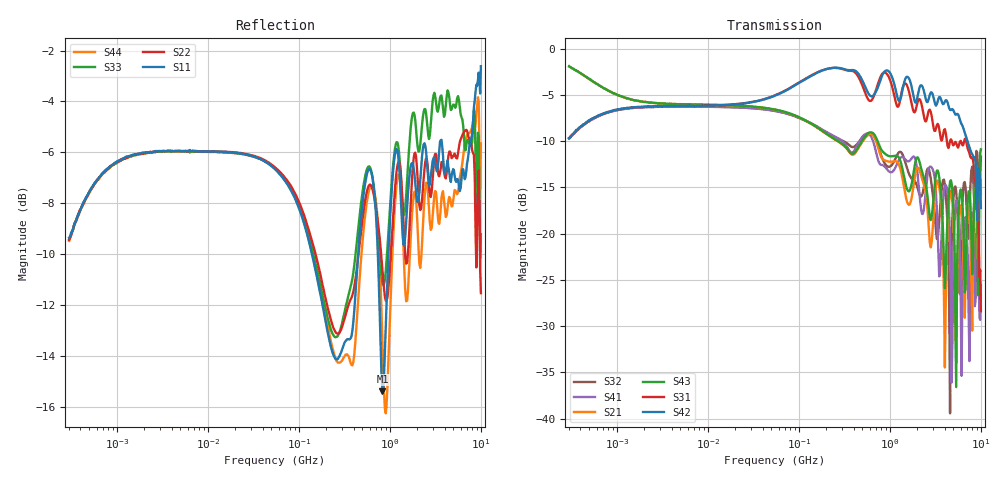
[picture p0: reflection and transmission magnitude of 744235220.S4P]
! This data is being provided by Wuerth Elektronik eiSos GmbH & Co. KG to the industry for analysis.
! Document information:
! Version:rev19a Date: 16/12/2019
! Component information:
! Match Code: WE-CNSW P/N: 744235220 Size: 1812
! Disclaimer:  While Würth Elektronik eiSos has made every reasonable effort to ensure the accuracy
! of the information provided, Würth Elektronik eiSos does not guarantee the exemption of error on the
! data collection measurements, nor does Würth Elektronik eiSos guarantee that the information is current.
! Würth Elektronik eiSos reserves the right to make any adjustments at any time without notice.
! Würth Elektronik eiSos expressly disclaims all implied warranties regarding this measurement data collection.
! Note 1  This data measurement is representative according to the product implementation into the fixture.
! Component behavior is sensitive to implementation into the fixture, which includes board
! materials, trace geometry information, connector pin out, layer connection, use of de-embedding
! techniques, etc.
! Note 2 - The fixture was designed specifically to match the 50 Ohm line impedance, as well as the connector impedance,
! in order to accomplish a reliable measurement without reflections in the trace. Any other implementation of the fixture will change the obtained
! measurement performance. The used fixture behavior was de-embedded to accomplish reliable measurement results.
! The test setup consisted of the following:
!  - Agilent VNA E5071C or E5071B
!  - Calibrations are SOLT (short open load thru)
!  - De-embedding of the SMA's or line cards were included
!  - Equipment Settings -
!  - Sampling - 501 points
!  - IF BW  70 kHz
!  - Averaging  Not used
!  Port 1----->|1|  |2| -----> Port 3
!  |  DUT  |
!  Port 2----->|3|  |4| -----> Port 4
!*VNA Port --> |Port in Datasheet|
! |Port in Datasheet| --> VNA Port
! For further information regarding this testing, please contact
! Wuerth Elektronik eiSos
! Contact: EDA team in QDC
! Email: libraries@we-online.com or libraries@we-online.de
# Hz S dB R 50
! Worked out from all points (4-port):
!   501 points, 300 kHz to 10 GHz, reference 50 ohm
!   strongest paths, dB at 300 kHz, 4.054 MHz, 54.77 MHz, 740.1 MHz, 10 GHz:
!     S42: -9.7, -6.2, -5.1, -4.2, -17.2
!     S31: -9.7, -6.2, -5.1, -3.8, -28.4
!     S43: -1.9, -6.0, -6.6, -10.1, -10.9
!     S21: -1.9, -6.0, -6.6, -10.6, -15.7
!     S41: -9.7, -6.3, -6.7, -12.0, -25.6
!     S32: -9.7, -6.2, -6.7, -10.4, -11.7
!   lowest |S11| = -15.4 dB at 828.8 MHz (marker M1), VSWR 1.41, Z = 68.7 - j7.81 ohm
!   |S11| at or under -10 dB: 139.9 MHz to 448.3 MHz (308.4 MHz wide, 105 % of centre); 738.2 MHz to 964.4 MHz (226.2 MHz wide, 26.6 % of centre)
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300000  -9.34 45.8  -1.93 -17.6  -9.59 47.3  -9.71 -132.7
        -1.93 -17.7  -9.44 46.0  -9.67 -132.7  -9.70 47.7
        -9.65 47.0  -9.70 -132.6  -9.40 46.7  -1.90 -17.6
        -9.73 -132.9  -9.66 47.8  -1.89 -17.7  -9.47 46.2
1.600418e8  -10.98 -32.2  -8.56 -69.4  -2.56 5.3  -8.43 107.2
            -8.56 -69.3  -10.27 -27.6  -8.52 112.7  -2.59 6.6
            -2.55 5.3  -8.51 112.7  -10.64 -26.6  -8.52 -68.9
            -8.42 107.1  -2.59 6.6  -8.52 -69.0  -10.69 -34.0
8.287572e8  -15.38 -18.9  -11.93 72.1  -2.71 -19.7  -12.57 -85.7
            -11.91 71.8  -10.62 -26.3  -11.87 -110.6  -2.84 -13.0
            -2.70 -19.7  -11.91 -110.6  -11.10 -13.0  -11.13 74.3
            -12.59 -86.1  -2.84 -13.1  -11.09 74.2  -13.41 -45.8
3.929938e9  -6.72 -66.1  -26.77 -122.9  -8.81 -77.1  -15.37 8.3
            -26.83 -122.6  -6.74 -56.1  -14.15 13.5  -5.95 -83.7
            -8.80 -77.3  -14.16 13.4  -4.60 -63.7  -23.32 -133.7
            -15.38 8.0  -5.94 -83.7  -23.22 -133.7  -7.88 -49.8
4.586479e9  -7.03 -78.0  -15.62 -16.7  -10.00 -84.3  -20.57 -111.0
            -15.64 -17.0  -5.97 -67.5  -39.22 161.0  -6.64 -101.1
            -9.99 -84.5  -39.43 155.7  -4.13 -85.0  -14.44 0.4
            -20.59 -111.1  -6.63 -101.3  -14.41 0.6  -7.80 -57.5
5.35337e9  -7.15 -93.2  -33.95 -21.3  -10.17 -96.7  -16.40 -48.5
           -33.92 -22.2  -6.22 -84.0  -15.41 -34.7  -7.13 -115.8
           -10.18 -97.0  -15.41 -34.6  -4.15 -101.2  -36.17 35.6
           -16.40 -48.9  -7.12 -115.9  -36.59 37.4  -7.54 -76.7
1e10  -2.61 -140.8  -15.70 159.4  -28.10 -157.7  -25.65 -133.2
      -15.70 158.5  -11.52 -170.9  -11.69 -147.1  -17.11 107.3
      -28.38 -156.8  -11.69 -146.9  -9.21 -172.6  -10.93 -158.6
      -25.59 -134.8  -17.23 108.1  -10.89 -158.9  -5.65 -116.9
